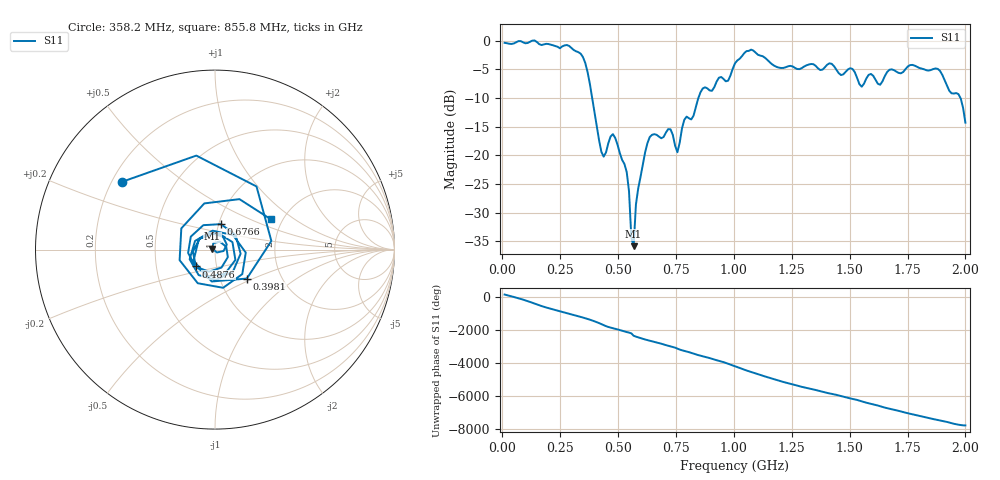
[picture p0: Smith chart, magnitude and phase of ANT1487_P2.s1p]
!Created with skrf (http://scikit-rf.org).
# Hz S RI R 50.0
!freq ReS11 ImS11
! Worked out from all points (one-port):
!   201 points, 10 MHz to 2 GHz, reference 50 ohm
!   lowest |S11| = -35.9 dB at 567.2 MHz (marker M1), VSWR 1.03, Z = 48.5 + j0.546 ohm
!   |S11| at or under -10 dB: 388.3 MHz to 846.8 MHz (458.5 MHz wide, 74.3 % of centre); 1.979 GHz to end of sweep
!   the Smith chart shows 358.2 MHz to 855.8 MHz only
!   S11 on the Smith chart (normalised r, x): 358.2 MHz: 0.24, +0.31; 398.1 MHz: 1.34, -0.46; 487.6 MHz: 0.79, -0.15; 676.6 MHz: 1.02, +0.30; 855.8 MHz: 1.74, +0.67
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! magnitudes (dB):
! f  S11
! 10 MHz  -0.4
! 258.8 MHz  -1.0
! 358.2 MHz  -3.9
! 398.1 MHz  -12.4
! 437.9 MHz  -20.2
! 487.6 MHz  -17.0
! 507.5 MHz  -19.6
! 537.4 MHz  -22.9
! 547.3 MHz  -26.3
! 557.2 MHz  -34.3
! 567.2 MHz  -35.9
! 577.1 MHz  -28.6
! 617 MHz  -19.5
! 676.6 MHz  -16.7
! 726.4 MHz  -15.5
! 756.2 MHz  -19.5
! 786.1 MHz  -13.8
! 855.8 MHz  -9.0
! 975.1 MHz  -7.0
! 1.005 GHz  -3.9
! 1.075 GHz  -1.5
! 1.254 GHz  -4.5
! 1.502 GHz  -4.8
! 1.552 GHz  -8.0
! 1.751 GHz  -4.5
! 1.891 GHz  -5.3
! 1.98 GHz  -10.1
! 2 GHz  -14.3
